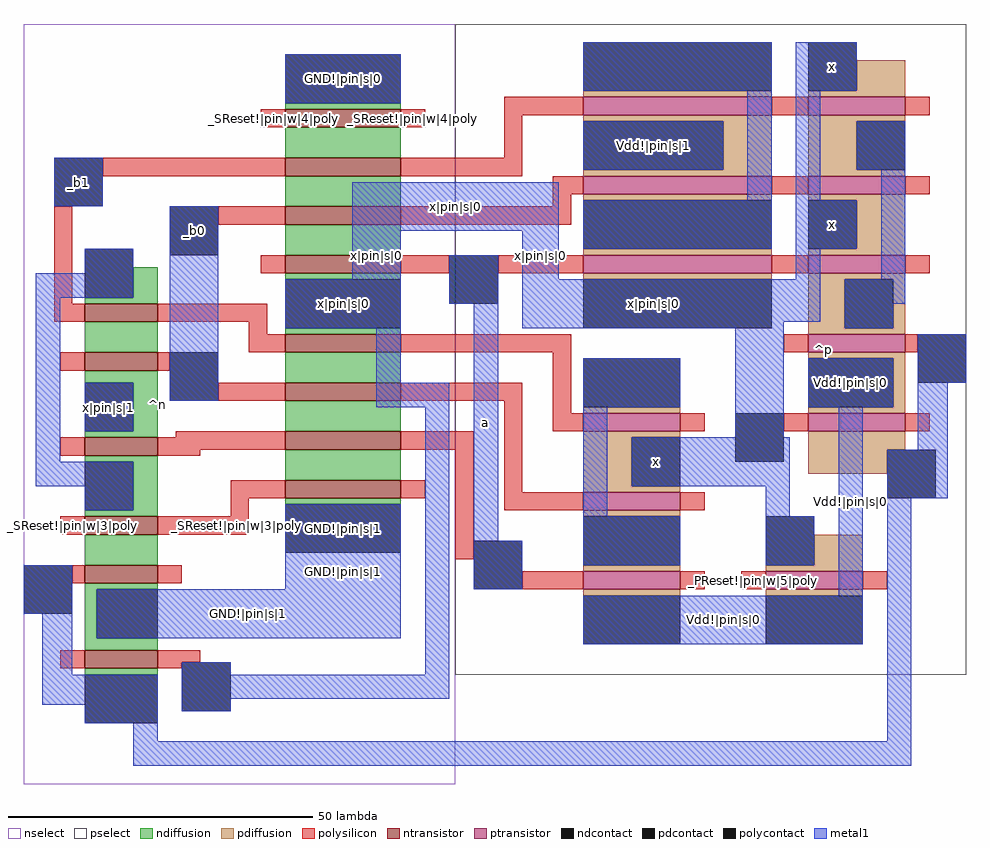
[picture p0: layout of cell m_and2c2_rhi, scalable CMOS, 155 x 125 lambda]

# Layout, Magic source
magic
tech scmos
<< nselect >>
rect -71 37 0 162
<< pselect >>
rect 0 55 84 162
<< ndiffusion >>
rect -28 148 -9 149
rect -28 140 -9 145
rect -28 132 -9 137
rect -28 124 -9 129
rect -53 117 -49 122
rect -61 116 -49 117
rect -28 120 -9 121
rect -61 108 -49 113
rect -28 111 -9 112
rect -61 103 -49 105
rect -53 95 -49 103
rect -28 103 -9 108
rect -28 95 -9 100
rect -61 94 -49 95
rect -61 90 -49 91
rect -53 82 -49 90
rect -28 87 -9 92
rect -61 81 -49 82
rect -28 83 -9 84
rect -61 73 -49 78
rect -61 69 -49 70
rect -61 61 -59 69
rect -61 59 -49 61
rect -61 55 -49 56
<< pdiffusion >>
rect 21 150 52 151
rect 66 151 74 156
rect 58 150 74 151
rect 21 146 52 147
rect 44 138 52 146
rect 21 137 52 138
rect 58 146 74 147
rect 58 138 66 146
rect 58 137 74 138
rect 21 133 52 134
rect 21 124 52 125
rect 58 133 74 134
rect 66 125 74 133
rect 58 124 74 125
rect 21 120 52 121
rect 58 120 74 121
rect 58 112 64 120
rect 72 112 74 120
rect 58 111 74 112
rect 58 107 74 108
rect 21 98 37 99
rect 72 99 74 107
rect 58 98 74 99
rect 21 94 37 95
rect 21 86 29 94
rect 58 92 74 95
rect 58 88 71 92
rect 21 85 37 86
rect 21 81 37 82
rect 21 72 37 73
rect 59 73 67 78
rect 51 72 67 73
rect 21 68 37 69
rect 51 68 67 69
<< ntransistor >>
rect -28 145 -9 148
rect -28 137 -9 140
rect -28 129 -9 132
rect -28 121 -9 124
rect -61 113 -49 116
rect -28 108 -9 111
rect -61 105 -49 108
rect -28 100 -9 103
rect -61 91 -49 94
rect -28 92 -9 95
rect -28 84 -9 87
rect -61 78 -49 81
rect -61 70 -49 73
rect -61 56 -49 59
<< ptransistor >>
rect 21 147 52 150
rect 58 147 74 150
rect 21 134 52 137
rect 58 134 74 137
rect 21 121 52 124
rect 58 121 74 124
rect 58 108 74 111
rect 21 95 37 98
rect 58 95 74 98
rect 21 82 37 85
rect 21 69 37 72
rect 51 69 67 72
<< polysilicon >>
rect -32 145 -28 148
rect -9 145 -5 148
rect 8 147 21 150
rect 52 147 58 150
rect 74 147 78 150
rect 8 140 11 147
rect -58 137 -28 140
rect -9 137 11 140
rect 16 134 21 137
rect 52 134 58 137
rect 74 134 78 137
rect 16 132 19 134
rect -66 116 -63 132
rect -39 129 -28 132
rect -9 129 19 132
rect -32 121 -28 124
rect -9 121 -1 124
rect -66 113 -61 116
rect -49 113 -31 116
rect -34 111 -31 113
rect 7 121 21 124
rect 52 121 58 124
rect 74 121 78 124
rect -34 108 -28 111
rect -9 108 19 111
rect 54 108 58 111
rect 74 108 76 111
rect -65 105 -61 108
rect -49 105 -47 108
rect -39 100 -28 103
rect -9 100 11 103
rect -46 94 -28 95
rect -65 91 -61 94
rect -49 92 -28 94
rect -9 92 3 95
rect -49 91 -42 92
rect -37 84 -28 87
rect -9 84 -5 87
rect -37 81 -34 84
rect -65 78 -61 81
rect -49 78 -34 81
rect 0 74 3 92
rect 8 85 11 100
rect 16 98 19 108
rect 16 95 21 98
rect 37 95 41 98
rect 54 95 58 98
rect 74 95 78 98
rect 8 82 21 85
rect 37 82 41 85
rect -63 70 -61 73
rect -49 70 -45 73
rect 11 69 21 72
rect 37 69 41 72
rect 47 69 51 72
rect 67 69 71 72
rect -65 56 -61 59
rect -49 57 -42 59
rect -49 56 -45 57
<< ndcontact >>
rect -28 149 -9 157
rect -61 117 -53 125
rect -28 112 -9 120
rect -61 95 -53 103
rect -61 82 -53 90
rect -28 75 -9 83
rect -59 61 -49 69
rect -61 47 -49 55
<< pdcontact >>
rect 21 151 52 159
rect 58 151 66 159
rect 21 138 44 146
rect 66 138 74 146
rect 21 125 52 133
rect 58 125 66 133
rect 21 112 52 120
rect 64 112 72 120
rect 21 99 37 107
rect 58 99 72 107
rect 29 86 37 94
rect 71 84 79 92
rect 21 73 37 81
rect 51 73 59 81
rect 21 60 37 68
rect 51 60 67 68
<< polycontact >>
rect -66 132 -58 140
rect -47 124 -39 132
rect -1 116 7 124
rect -47 100 -39 108
rect 76 103 84 111
rect 46 90 54 98
rect -71 65 -63 73
rect 3 69 11 77
rect -45 49 -37 57
<< metal1 >>
rect -28 149 -9 157
rect 21 151 52 159
rect -66 132 -58 140
rect 21 138 44 146
rect -61 121 -53 125
rect -69 117 -53 121
rect -69 90 -65 117
rect -61 95 -53 103
rect -47 100 -39 132
rect -17 128 17 136
rect 48 133 52 151
rect -17 120 -9 128
rect -28 112 -9 120
rect -1 116 7 124
rect -13 103 -9 112
rect -13 99 -1 103
rect -69 86 -53 90
rect -61 82 -53 86
rect -71 65 -63 73
rect -28 69 -9 83
rect -68 55 -63 65
rect -59 61 -9 69
rect -45 55 -37 57
rect -5 55 -1 99
rect 3 77 7 116
rect 11 120 17 128
rect 21 125 52 133
rect 56 151 66 159
rect 56 133 60 151
rect 66 138 74 146
rect 56 125 66 133
rect 56 120 60 125
rect 70 120 74 138
rect 11 113 60 120
rect 64 116 74 120
rect 11 112 54 113
rect 64 112 72 116
rect 21 99 37 107
rect 21 81 25 99
rect 46 94 54 112
rect 58 99 72 107
rect 76 103 84 111
rect 29 86 55 94
rect 51 81 55 86
rect 3 69 11 77
rect 21 73 37 81
rect 51 73 59 81
rect 63 68 67 99
rect 76 92 81 103
rect 21 60 67 68
rect 71 84 81 92
rect -68 50 -49 55
rect -61 47 -49 50
rect -45 51 -1 55
rect -45 49 -37 51
rect -53 44 -49 47
rect 71 44 75 84
rect -53 40 75 44
<< labels >>
rlabel metal1 33 90 33 90 1 x
rlabel metal1 62 155 62 155 5 x
rlabel metal1 62 129 62 129 1 x
rlabel metal1 -66 132 -58 140 1 _b1
rlabel metal1 -47 124 -39 132 1 _b0
rlabel space 36 55 85 162 3 ^p
rlabel metal1 -28 149 -9 157 1 GND!|pin|s|0
rlabel polysilicon -65 78 -61 81 1 _SReset!|pin|w|3|poly
rlabel polysilicon -38 78 -34 81 1 _SReset!|pin|w|3|poly
rlabel polysilicon -32 145 -28 148 1 _SReset!|pin|w|4|poly
rlabel polysilicon -9 145 -5 148 1 _SReset!|pin|w|4|poly
rlabel polysilicon 47 69 51 72 1 _PReset!|pin|w|5|poly
rlabel polysilicon 67 69 71 72 1 _PReset!|pin|w|5|poly
rlabel metal1 21 138 44 146 1 Vdd!|pin|s|1
rlabel metal1 -59 61 -9 69 1 GND!|pin|s|1
rlabel metal1 -28 75 -9 83 1 GND!|pin|s|1
rlabel metal1 -28 61 -9 83 1 GND!|pin|s|1
rlabel metal1 21 60 67 68 1 Vdd!|pin|s|0
rlabel metal1 63 60 67 107 1 Vdd!|pin|s|0
rlabel metal1 58 99 72 107 1 Vdd!|pin|s|0
rlabel metal1 3 69 7 124 1 a
rlabel metal1 -61 95 -53 103 1 x|pin|s|1
rlabel space -72 36 -26 163 7 ^n
rlabel metal1 -17 128 17 136 1 x|pin|s|0
rlabel metal1 -17 112 -9 136 1 x|pin|s|0
rlabel metal1 -28 112 -9 120 1 x|pin|s|0
rlabel metal1 11 112 17 136 1 x|pin|s|0
rlabel metal1 11 112 54 120 1 x|pin|s|0
<< end >>
